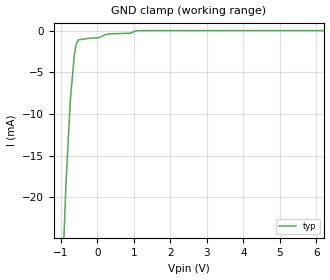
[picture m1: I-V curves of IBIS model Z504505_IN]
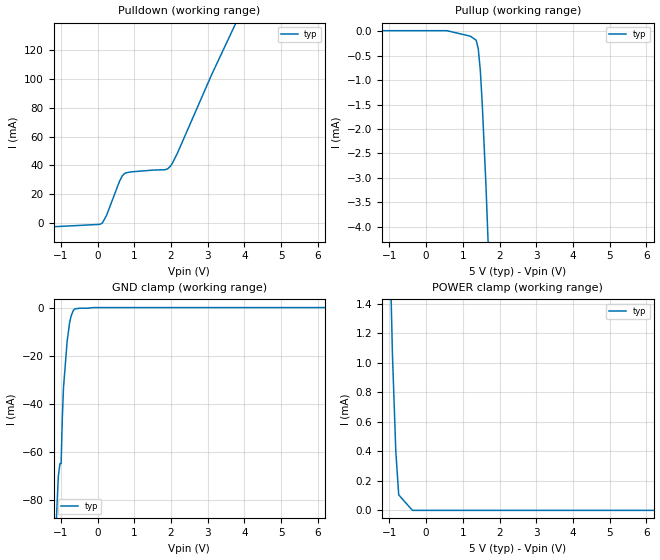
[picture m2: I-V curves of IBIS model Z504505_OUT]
| YOU ARE ONLY AUTHORIZED TO USE THIS SOFTWARE
| ACCORDING TO LICENSOR'S LICENSE RESTRICTIONS.
[IBIS Ver] 3.1
[File Name] sn74ls112an.ibs
[File Rev] 2.0
[Source] Measured and created by ICX Technology
[Date] Friday 7/14/00 9:08:16 AM
[Copyright]
| (C) COPYRIGHT 1993-2000
| MENTOR GRAPHICS CORPORATION
| ICX STANDARD LIBRARY, ICX PROJECT MODELING,
| ICX CUSTOM MODELING, ICX VENDOR MODEL
| ALL RIGHTS RESERVED.
| THE FOLLOWING ARE TRADEMARKS OR SERVICE MARKS OF
| MENTOR GRAPHICS CORPORATION:ICX (R), ICX STANDARD
| LIBRARY(R), ICX PROJECT MODELING(R), ICX CUSTOM
| MODELING(R), qualityIBIS(TM), MODELVIEWER(TM),
| AND MODELEDITOR(TM)
| ALL COPIES OF SOFTWARE, INCLUDING BUT NOT LIMITED TO
| ANY MODIFICATIONS, ENHANCEMENTS OR DERIVATIVE WORKS,
| MUST CONTAIN ALL MENTOR GRAPHICS CORPORATION'S
| NOTICES AND LEGENDS, INCLUDING THOSE EMBEDDED IN
| SOFTWARE AND THOSE AFFIXED TO SOFTWARE MEDIUM
| AND CONTAINER, AS RECEIVED FROM MENTOR GRAPHICS
| CORPORATION.
|  ZAP Model Builder 2.7
[Component] SN74LS112AN
[Manufacturer] OnSemiconductor
[Package]
| variable   typ   min   max
R_pkg  .212ohms NA NA
L_pkg  4.758nH NA NA
C_pkg  1.143pF NA NA
[Pin] signal_name  model_name  R_pin  L_pin C_pin
1 CLK Z504505_IN .224 7.258n 1.578p
2 K Z504505_IN .216 5.258n 1.288p
3 J Z504505_IN .208 3.758n .998p
4 _PRE Z504505_IN .2 2.758n .708p
5 Q Z504505_OUT .2 2.758n .708p
6 _Q Z504505_OUT .208 3.758n .998p
7 _Q Z504505_OUT .216 5.258n 1.288p
8 GND GND .224 7.258n 1.578p
9 Q Z504505_OUT .224 7.258n 1.578p
10 _PRE Z504505_IN .216 5.258n 1.288p
11 J Z504505_IN .208 3.758n .998p
12 K Z504505_IN .2 2.758n .708p
13 CLK Z504505_IN .2 2.758n .708p
14 _CLR Z504505_IN .208 3.758n .998p
15 _CLR Z504505_IN .216 5.258n 1.288p
16 VCC POWER .224 7.258n 1.578p
| Models and submodels in the file (2): Z504505_IN (Input), Z504505_OUT (Output)
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| (C) COPYRIGHT 1993-2000
| MENTOR GRAPHICS CORPORATION
| ICX STANDARD LIBRARY, ICX PROJECT MODELING,
| ICX CUSTOM MODELING, ICX VENDOR MODEL
| ALL RIGHTS RESERVED.
| THE FOLLOWING ARE TRADEMARKS OR SERVICE MARKS OF
| MENTOR GRAPHICS CORPORATION:ICX (R), ICX STANDARD
| LIBRARY(R), ICX PROJECT MODELING(R), ICX CUSTOM
| MODELING(R), qualityIBIS(TM), MODELVIEWER(TM),
| AND MODELEDITOR(TM)
| ALL COPIES OF SOFTWARE, INCLUDING BUT NOT LIMITED TO
| ANY MODIFICATIONS, ENHANCEMENTS OR DERIVATIVE WORKS,
| MUST CONTAIN ALL MENTOR GRAPHICS CORPORATION'S
| NOTICES AND LEGENDS, INCLUDING THOSE EMBEDDED IN
| SOFTWARE AND THOSE AFFIXED TO SOFTWARE MEDIUM
| AND CONTAINER, AS RECEIVED FROM MENTOR GRAPHICS
| CORPORATION.
| Model Application Version 1.89 2/18/99.
[Model] Z504505_IN
Model_type Input
Vinl = 800.0mV
Vinh = 2.000V
C_comp 4.000pF NA NA
| variable typ   min   max
[Voltage Range] 5.000V NA NA
[GND Clamp Reference] 0.000V NA NA
[POWER Clamp Reference] 5.000V NA NA
[GND Clamp]
-5V       -489.9mA   NA         NA
-859.4mV  -18.44mA   NA         NA
-742.2mV  -8.523mA   NA         NA
-634.8mV  -3.086mA   NA         NA
-590.7mV  -1.868mA   NA         NA
-556.6mV  -1.378mA   NA         NA
-518.7mV  -1.125mA   NA         NA
38.87mV   -856.6uA   NA         NA
312.3mV   -404.1uA   NA         NA
908.2mV   -313.9uA   NA         NA
1.143V    -2.129uA   NA         NA
10V       -2.129uA   NA         NA
[POWER Clamp]
-5V       0A         NA         NA
10V       0A         NA         NA
| (C) COPYRIGHT 1993-2000
| MENTOR GRAPHICS CORPORATION
| ICX STANDARD LIBRARY, ICX PROJECT MODELING,
| ICX CUSTOM MODELING, ICX VENDOR MODEL
| ALL RIGHTS RESERVED.
| THE FOLLOWING ARE TRADEMARKS OR SERVICE MARKS OF
| MENTOR GRAPHICS CORPORATION:ICX (R), ICX STANDARD
| LIBRARY(R), ICX PROJECT MODELING(R), ICX CUSTOM
| MODELING(R), qualityIBIS(TM), MODELVIEWER(TM),
| AND MODELEDITOR(TM)
| ALL COPIES OF SOFTWARE, INCLUDING BUT NOT LIMITED TO
| ANY MODIFICATIONS, ENHANCEMENTS OR DERIVATIVE WORKS,
| MUST CONTAIN ALL MENTOR GRAPHICS CORPORATION'S
| NOTICES AND LEGENDS, INCLUDING THOSE EMBEDDED IN
| SOFTWARE AND THOSE AFFIXED TO SOFTWARE MEDIUM
| AND CONTAINER, AS RECEIVED FROM MENTOR GRAPHICS
| CORPORATION.
| Model Application Version 1.89 2/18/99.
[Model] Z504505_OUT
Model_type Output
Vref=5.000V
Rref=2.000kohms
Cref=15.00pF
Vmeas=1.300V
C_comp 8.000pF NA NA
| variable typ   min   max
[Voltage Range] 5.000V NA NA
[POWER Clamp Reference] 5.000V NA NA
[Pullup Reference] 5.000V NA NA
[Pulldown Reference] 0.000V NA NA
[GND Clamp Reference] 0.000V NA NA
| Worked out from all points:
|   slope of the pulldown table from 0 to 0.75 V, typ, clamps not added: 21.1 ohm
|   slope of the pullup table from 0 to 0.75 V, typ, clamps not added: 23 kohm
|   GND clamp passes 1 mA (typ) near -0.65 V on its own axis
|   POWER clamp passes 1 mA (typ) near -0.91 V on its own axis
[GND Clamp]
-5V       -1.436A    NA         NA
-1.069V   -70.13mA   NA         NA
-1.024V   -64.91mA   NA         NA
-992.9mV  -64.91mA   NA         NA
-961.4mV  -46.36mA   NA         NA
-928.5mV  -33.33mA   NA         NA
-830mV    -14.17mA   NA         NA
-761.5mV  -6.259mA   NA         NA
-722.7mV  -3.611mA   NA         NA
-625mV    -563.5uA   NA         NA
-103.2mV  0A         NA         NA
10V       0A         NA         NA
[Pulldown]
-5V       -7.556mA   NA         NA
87.89mV   -653.2uA   NA         NA
131.8mV   113.6uA    NA         NA
243.8mV   5.225mA    NA         NA
595.8mV   28.87mA    NA         NA
732.4mV   34.31mA    NA         NA
905.2mV   35.49mA    NA         NA
1.826V    36.96mA    NA         NA
1.982V    39.36mA    NA         NA
2.173V    48.37mA    NA         NA
3.106V    102.9mA    NA         NA
10V       477.4mA    NA         NA
[Pullup]
-5V       13.52uA    NA         NA
566mV     13.52uA    NA         NA
1.202V    -99.37uA   NA         NA
1.362V    -181.4uA   NA         NA
1.419V    -354.2uA   NA         NA
1.475V    -791.2uA   NA         NA
1.529V    -1.496mA   NA         NA
1.631V    -3.186mA   NA         NA
10V       -170.6mA   NA         NA
[POWER Clamp]
-5V       51.38mA    NA         NA
-1.099V   2.986mA    NA         NA
-918mV    1.057mA    NA         NA
-826mV    397.6uA    NA         NA
-747mV    104.8uA    NA         NA
-373.5mV  0A         NA         NA
10V       0A         NA         NA
[Ramp]
| variable typ min max
dV/dt_r 1.857/11.47n NA NA
dV/dt_f 1.857/3.158n NA NA
R_load = 500.0Ohms
